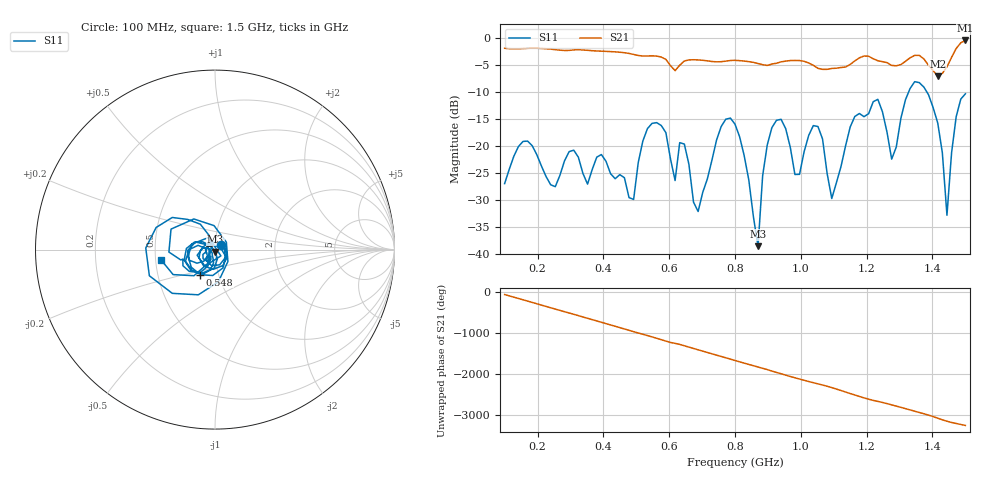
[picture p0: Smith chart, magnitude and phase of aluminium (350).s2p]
! NanoVNA-App
! Date: 2025-09-25 14:58:00
! Start: 100MHz Stop: 1,5GHz Points: 101
! S-Parameter data: F S11 S21 S12 S22
# Hz S RI R 50
!  Frequency  S11_Real  S11_Imag  S21_Real  S21_Imag  S12_Real  S12_Imag  S22_Real  S22_Imag
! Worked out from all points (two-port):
!   101 points, 100 MHz to 1.5 GHz, reference 50 ohm
!   highest |S21| = -0.47 dB at 1.5 GHz (marker M1); lowest = -7.1 dB at 1.416 GHz (marker M2)
!   |S21| within 3 dB of the highest: start of sweep to 570.6 MHz; 1.459 GHz to end of sweep (the widest 2 of 4)
!   lowest |S11| = -38.5 dB at 870 MHz (marker M3), VSWR 1.02, Z = 50.2 - j1.17 ohm
!   |S11| at or under -10 dB: start of sweep to 1.328 GHz; 1.383 GHz to end of sweep
!   S12 and S22 are empty: the file has one direction only
!   S11 on the Smith chart (normalised r, x): 100 MHz: 1.07, +0.06; 548 MHz: 0.82, -0.23; 1.5 GHz: 0.54, -0.07
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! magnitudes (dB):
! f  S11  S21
! 100 MHz  -27.0  -1.9
! 156 MHz  -19.1  -2.0
! 338 MHz  -25.1  -2.2
! 492 MHz  -29.9  -3.1
! 548 MHz  -15.8  -3.3
! 576 MHz  -16.2  -3.5
! 618 MHz  -26.4  -6.1
! 646 MHz  -19.6  -4.3
! 688 MHz  -32.1  -4.1
! 800 MHz  -16.0  -4.1
! 870 MHz  -38.5  -4.7
! 912 MHz  -16.6  -4.8
! 996 MHz  -25.2  -4.2
! 1.038 GHz  -16.2  -5.1
! 1.094 GHz  -29.7  -5.7
! 1.22 GHz  -11.8  -3.9
! 1.276 GHz  -22.4  -5.1
! 1.346 GHz  -8.1  -3.2
! 1.416 GHz  -15.7  -7.1
! 1.444 GHz  -32.8  -5.4
! 1.472 GHz  -14.6  -2.0
! 1.5 GHz  -10.3  -0.5
